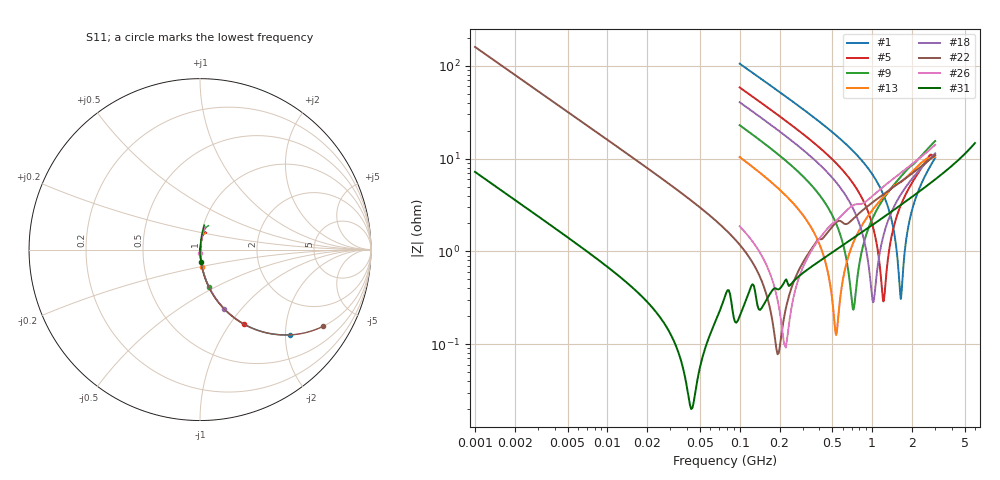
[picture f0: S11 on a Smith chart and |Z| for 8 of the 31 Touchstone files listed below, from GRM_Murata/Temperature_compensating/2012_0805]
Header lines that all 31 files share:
!These Parameters are Measured in Series Mode Connection
!Data Generated on Mar 30, 2021
!  o--ll--o
!Port1  Port2
!  o------o
!Operation Temp=25[degC], DC Bias Voltage=0[V]
# Hz S RI R 50
!Freq.(Hz) S11(Real) S11(Imag) S21(Real) S21(Imag) S12(Real) S12(Imag) S22(Real) S22(Imag)
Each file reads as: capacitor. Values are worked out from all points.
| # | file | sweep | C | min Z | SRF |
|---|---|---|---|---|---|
| 1 | GRM21A5C2E150JW01.s2p | 100 MHz to 3 GHz | 15 pF | 307 mohm | 1.65 GHz |
| 2 | GRM21A5C2E151JW01.s2p | 100 MHz to 3 GHz | 150 pF | 114 mohm | 553.6 MHz |
| 3 | GRM21A5C2E180JW01.s2p | 100 MHz to 3 GHz | 18 pF | 309 mohm | 1.43 GHz |
| 4 | GRM21A5C2E221JW01.s2p | 100 MHz to 3 GHz | 220 pF | 99.5 mohm | 475 MHz |
| 5 | GRM21A5C2E270JW01.s2p | 100 MHz to 3 GHz | 27 pF | 289 mohm | 1.221 GHz |
| 6 | GRM21A5C2E331JW01.s2p | 100 MHz to 3 GHz | 329 pF | 81.5 mohm | 410.3 MHz |
| 7 | GRM21A5C2E470JW01.s2p | 100 MHz to 3 GHz | 47 pF | 240 mohm | 873.9 MHz |
| 8 | GRM21A5C2E471JWA1.s2p | 100 MHz to 3 GHz | 470 pF | 68.7 mohm | 308.1 MHz |
| 9 | GRM21A5C2E680JW01.s2p | 100 MHz to 3 GHz | 68 pF | 235 mohm | 722.3 MHz |
| 10 | GRM21A5C2J120JWA1.s2p | 100 MHz to 3 GHz | 12 pF | 517 mohm | 1.852 GHz |
| 11 | GRM21A5C2J121JWA1.s2p | 100 MHz to 3 GHz | 120 pF | 149 mohm | 589.2 MHz |
| 12 | GRM21A5C2J150JWA1.s2p | 100 MHz to 3 GHz | 14.4 pF | 456 mohm | 1.717 GHz |
| 13 | GRM21A5C2J151JWA1.s2p | 100 MHz to 3 GHz | 148 pF | 125 mohm | 535.7 MHz |
| 14 | GRM21A5C2J221JWA1.s2p | 100 MHz to 3 GHz | 216 pF | 105 mohm | 455.1 MHz |
| 15 | GRM21A5C2J270JWA1.s2p | 100 MHz to 3 GHz | 26.9 pF | 385 mohm | 1.205 GHz |
| 16 | GRM21A5C2J271JWA1.s2p | 100 MHz to 3 GHz | 259 pF | 85.9 mohm | 425.2 MHz |
| 17 | GRM21A5C2J330JWA1.s2p | 100 MHz to 3 GHz | 32.9 pF | 310 mohm | 1.055 GHz |
| 18 | GRM21A5C2J390JWA1.s2p | 100 MHz to 3 GHz | 38.9 pF | 282 mohm | 1.022 GHz |
| 19 | GRM21A5C2J560JWA1.s2p | 100 MHz to 3 GHz | 55.9 pF | 218 mohm | 860.5 MHz |
| 20 | GRM21A5C2J561JWA1.s2p | 100 MHz to 3 GHz | 562 pF | 62.2 mohm | 286.4 MHz |
| 21 | GRM21A7U1H333JA39.s2p | 1 MHz to 6 GHz | 32.3 nF | 15.5 mohm | 37.39 MHz |
| 22 | GRM21A7U2E102JW31.s2p | 1 MHz to 3 GHz | 993 pF | 77.7 mohm | 195 MHz |
| 23 | GRM21A7U2E152JW31.s2p | 1 MHz to 3 GHz | 1.49 nF | 52 mohm | 172.5 MHz |
| 24 | GRM21A7U2E182JW31.s2p | 1 MHz to 3 GHz | 1.76 nF | 50.7 mohm | 159.4 MHz |
| 25 | GRM21A7U2E271JW31.s2p | 100 MHz to 3 GHz | 270 pF | 136 mohm | 379.3 MHz |
| 26 | GRM21A7U2E681JW31.s2p | 100 MHz to 3 GHz | 679 pF | 91.7 mohm | 221.3 MHz |
| 27 | GRM21B1X1A104JA01.s2p | 1 MHz to 6 GHz | 97.7 nF | 11 mohm | 19.99 MHz |
| 28 | GRM21B1X1A683JA01.s2p | 1 MHz to 6 GHz | 65 nF | 13.5 mohm | 24.04 MHz |
| 29 | GRM21B3U1H393JA01.s2p | 1 MHz to 6 GHz | 38.8 nF | 15 mohm | 32.19 MHz |
| 30 | GRM21B5C1H183JA01.s2p | 1 MHz to 6 GHz | 17.9 nF | 17.7 mohm | 49.59 MHz |
| 31 | GRM21B5C1H223JA01.s2p | 1 MHz to 6 GHz | 22.1 nF | 19.9 mohm | 43.52 MHz |
